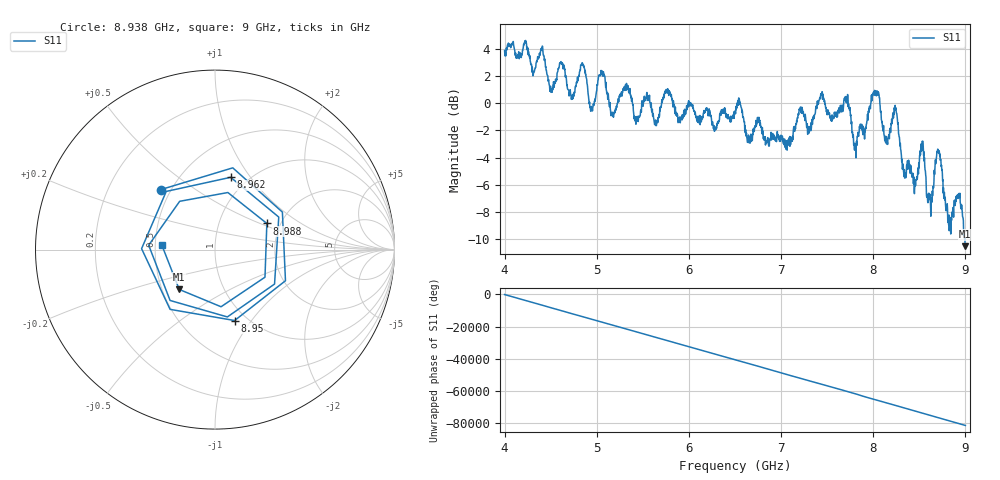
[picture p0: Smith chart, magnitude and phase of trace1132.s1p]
! Created with skrf 1.8.0 (http://scikit-rf.org).
# Hz S RI R 50.0
!freq ReS11 ImS11
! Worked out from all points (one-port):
!   1601 points, 4 GHz to 9 GHz, reference 50 ohm
!   lowest |S11| = -10.5 dB at 8.997 GHz (marker M1), VSWR 1.85, Z = 30.6 - j14.9 ohm
!   |S11| at or under -10 dB: 8.994526 GHz to end of sweep
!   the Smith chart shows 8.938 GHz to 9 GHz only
!   S11 on the Smith chart (normalised r, x): 8.938 GHz: 0.44, +0.37; 8.95 GHz: 0.88, -0.83; 8.962 GHz: 0.83, +0.81; 8.988 GHz: 1.70, +0.55; 9 GHz: 0.54, +0.03
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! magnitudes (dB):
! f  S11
! 4 GHz  3.9
! 4.403 GHz  4.1
! 4.512 GHz  0.9
! 4.625 GHz  3.0
! 4.725 GHz  0.3
! 4.85 GHz  2.8
! 4.944 GHz  -0.5
! 5.047 GHz  2.4
! 5.172 GHz  -1.0
! 5.25 GHz  0.4
! 5.875 GHz  -0.8
! 6.5 GHz  -0.7
! 7.125 GHz  -2.4
! 7.441 GHz  0.6
! 7.75 GHz  -0.7
! 7.812 GHz  -4.0
! 8.041 GHz  0.9
! 8.375 GHz  -4.9
! 8.531 GHz  -2.8
! 8.612 GHz  -7.1
! 8.709 GHz  -3.7
! 8.825 GHz  -9.4
! 8.938 GHz  -6.9
! 8.95 GHz  -7.7
! 8.962 GHz  -7.7
! 8.988 GHz  -9.8
! 8.997 GHz  -10.5
! 9 GHz  -10.5
